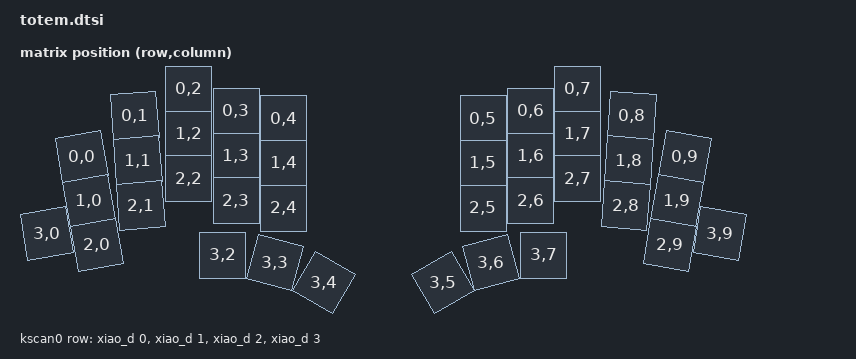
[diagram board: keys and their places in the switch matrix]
/*
 * Copyright (c) 2022 The ZMK Contributors
 *
 * SPDX-License-Identifier: MIT
 */

#include <dt-bindings/zmk/matrix_transform.h>
#include <physical_layouts.dtsi>
#include "totem-layouts.dtsi"

/ {
    chosen {
        zmk,physical-layout = &totem_layout;
        zmk,kscan = &kscan0;
    };

    default_transform: keymap_transform_0 {
        compatible = "zmk,matrix-transform";
        columns = <10>;
        rows = <4>;
//             | SW01  | SW02  | SW03  | SW04  | SW05  |  | SW05  | SW04  | SW03  | SW02  | SW01  |
//             | SW06  | SW07  | SW08  | SW09  | SW10  |  | SW10  | SW09  | SW08  | SW07  | SW06  | 
//      | SW16 | SW11  | SW12  | SW13  | SW14  | SW15  |  | SW15  | SW14  | SW13  | SW12  | SW11  | SW16  |
//                             | SW17  | SW18  | SW19  |  | SW19  | SW18  | SW17  | 
        map = <
                RC(0,0) RC(0,1) RC(0,2) RC(0,3) RC(0,4)    RC(0,5) RC(0,6) RC(0,7) RC(0,8) RC(0,9)
                RC(1,0) RC(1,1) RC(1,2) RC(1,3) RC(1,4)    RC(1,5) RC(1,6) RC(1,7) RC(1,8) RC(1,9)
        RC(3,0) RC(2,0) RC(2,1) RC(2,2) RC(2,3) RC(2,4)    RC(2,5) RC(2,6) RC(2,7) RC(2,8) RC(2,9) RC(3,9)
                                RC(3,2) RC(3,3) RC(3,4)    RC(3,5) RC(3,6) RC(3,7)         
        >;
    };

    kscan0: kscan_0 {
        compatible = "zmk,kscan-gpio-matrix";
        label = "KSCAN";
        
        diode-direction = "col2row"; 
        row-gpios
            = <&xiao_d 0 (GPIO_ACTIVE_HIGH | GPIO_PULL_DOWN)>
            , <&xiao_d 1 (GPIO_ACTIVE_HIGH | GPIO_PULL_DOWN)>
            , <&xiao_d 2 (GPIO_ACTIVE_HIGH | GPIO_PULL_DOWN)>
            , <&xiao_d 3 (GPIO_ACTIVE_HIGH | GPIO_PULL_DOWN)>
            ;
    };
    totem_layout: totem_layout{
    compatible = "zmk,physical-layout";
    display-name = "TOTEM Keyboard Layout";
    transform = <&default_transform>;
        keys
    = <&key_physical_attrs 100 100   70  136 (-1000)   120   186>
    , <&key_physical_attrs 100 100  176   54  (-400)   226   104>
    , <&key_physical_attrs 100 100  284    0       0     0     0>
    , <&key_physical_attrs 100 100  379   44       0     0     0>
    , <&key_physical_attrs 100 100  474   59       0     0     0>
    , <&key_physical_attrs 100 100  873   59       0     0     0>
    , <&key_physical_attrs 100 100  968   44       0     0     0>
    , <&key_physical_attrs 100 100 1062    0       0     0     0>
    , <&key_physical_attrs 100 100 1171   54     400  1221   104>
    , <&key_physical_attrs 100 100 1277  136    1000  1327   186>
    , <&key_physical_attrs 100 100   85  224 (-1000)   135   274>
    , <&key_physical_attrs 100 100  182  143  (-400)   232   193>
    , <&key_physical_attrs 100 100  284   90       0     0     0>
    , <&key_physical_attrs 100 100  379  134       0     0     0>
    , <&key_physical_attrs 100 100  474  148       0     0     0>
    , <&key_physical_attrs 100 100  873  148       0     0     0>
    , <&key_physical_attrs 100 100  968  134       0     0     0>
    , <&key_physical_attrs 100 100 1062   90       0     0     0>
    , <&key_physical_attrs 100 100 1165  143     400  1215   193>
    , <&key_physical_attrs 100 100 1261  224    1000  1311   274>
    , <&key_physical_attrs 100 100    0  289 (-1000)    50   339>
    , <&key_physical_attrs 100 100  101  312 (-1000)   151   362>
    , <&key_physical_attrs 100 100  188  233  (-400)   238   283>
    , <&key_physical_attrs 100 100  284  179       0     0     0>
    , <&key_physical_attrs 100 100  379  223       0     0     0>
    , <&key_physical_attrs 100 100  474  238       0     0     0>
    , <&key_physical_attrs 100 100  873  238       0     0     0>
    , <&key_physical_attrs 100 100  968  223       0     0     0>
    , <&key_physical_attrs 100 100 1062  179       0     0     0>
    , <&key_physical_attrs 100 100 1158  233     400  1208   283>
    , <&key_physical_attrs 100 100 1246  312    1000  1296   362>
    , <&key_physical_attrs 100 100 1346  289    1000  1396   339>
    , <&key_physical_attrs 100 100  352  332       0     0     0>
    , <&key_physical_attrs 100 100  457  347    1500   507   397>
    , <&key_physical_attrs 100 100  554  387    3000   604   437>
    , <&key_physical_attrs 100 100  792  387 (-3000)   842   437>
    , <&key_physical_attrs 100 100  889  347 (-1500)   939   397>
    , <&key_physical_attrs 100 100  994  332       0     0     0>
    ;
    };
};
